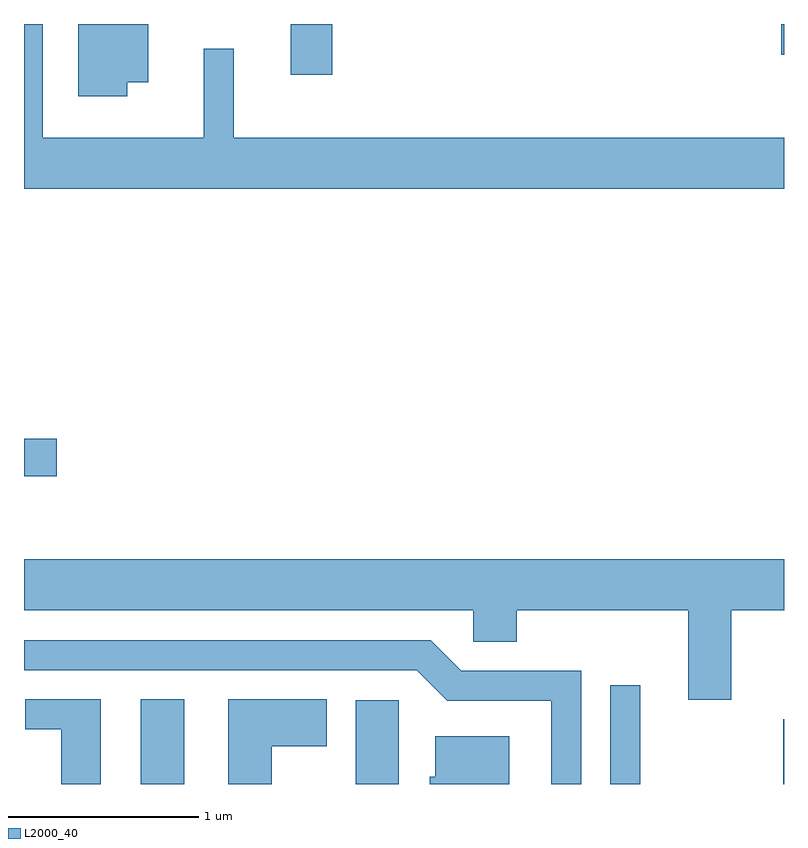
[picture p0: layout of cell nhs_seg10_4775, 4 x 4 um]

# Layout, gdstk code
import gdstk
lib = gdstk.Library(unit=1e-6, precision=1e-09)
def R(c, l, rs):  # rectangles x0, y0, x1, y1
    for r in rs: c.add(gdstk.rectangle(r[:2], r[2:], *l))
def P(c, l, *ps):  # polygons
    for p in ps: c.add(gdstk.Polygon(p, *l))
L2000_40 = (2000, 40)

nhs_seg10_4775 = lib.new_cell('nhs_seg10_4775')
R(nhs_seg10_4775, L2000_40, [(326.226,2148.522,326.454,2148.969), (327.356,2148.522,327.584,2148.964), (328.696,2148.522,328.854,2149.043), (329.606,2148.522,329.611,2148.864), (325.611,2150.141,325.784,2150.339), (327.016,2152.256,327.234,2152.522), (329.596,2152.361,329.611,2152.522)])
P(nhs_seg10_4775, L2000_40, [(329.611,2151.924),(326.714,2151.924),(326.714,2152.393),(326.556,2152.393),(326.556,2151.924),(325.709,2151.924),(325.709,2152.522),(325.611,2152.522),(325.611,2151.656),(329.611,2151.656)],
  [(326.154,2152.216),(326.264,2152.216),(326.264,2152.522),(325.896,2152.522),(325.896,2152.141),(326.154,2152.141)],
  [(329.334,2149.436),(329.611,2149.436),(329.611,2149.704),(325.611,2149.704),(325.611,2149.436),(327.976,2149.436),(327.976,2149.271),(328.204,2149.271),(328.204,2149.436),(329.106,2149.436),(329.106,2148.966),(329.334,2148.966)],
  [(328.544,2149.119),(327.912,2149.119),(327.752,2149.279),(325.611,2149.279),(325.611,2149.121),(327.679,2149.121),(327.839,2148.961),(328.386,2148.961),(328.386,2148.522),(328.544,2148.522)],
  [(326.014,2148.969),(325.618,2148.969),(325.618,2148.811),(325.806,2148.811),(325.806,2148.522),(326.014,2148.522)],
  [(326.914,2148.721),(327.204,2148.721),(327.204,2148.969),(326.686,2148.969),(326.686,2148.522),(326.914,2148.522)],
  [(328.164,2148.774),(327.776,2148.774),(327.776,2148.559),(327.746,2148.559),(327.746,2148.522),(328.164,2148.522)])

lib.write_gds('nhs_seg10_4775.gds')
